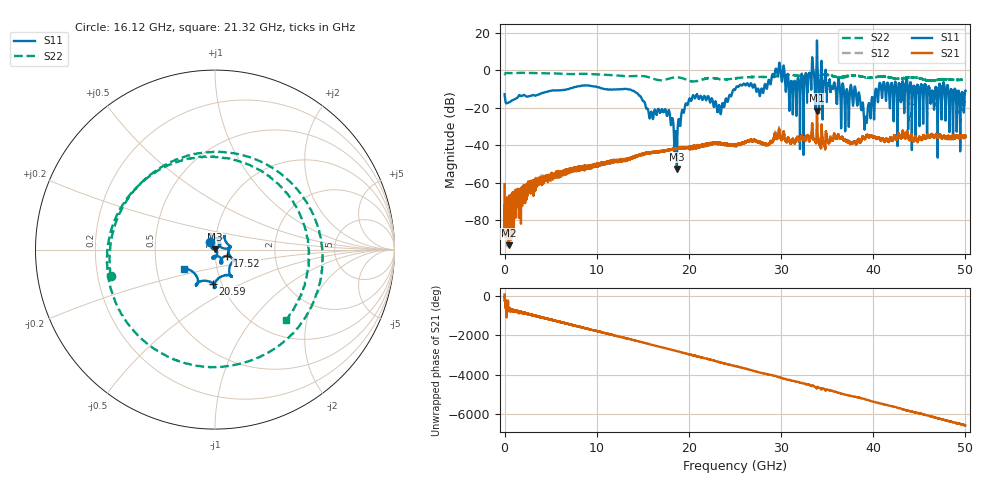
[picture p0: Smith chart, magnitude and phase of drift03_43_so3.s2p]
!Created with skrf (http://scikit-rf.org).
# Hz S RI R 50.0
!freq ReS11 ImS11 ReS21 ImS21 ReS12 ImS12 ReS22 ImS22
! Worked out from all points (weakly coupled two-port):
!   10001 points, 300 kHz to 50 GHz, reference 50 ohm
!   highest |S21| = -21.43 dB at 33.9 GHz (marker M1); lowest = -93.3 dB at 470.3 MHz (marker M2)
!   lowest |S11| = -52.7 dB at 18.7 GHz (marker M3), VSWR 1.00, Z = 50 + j0.23 ohm
!   |S11| at or under -10 dB: start of sweep to 6.949 GHz; 13.31 GHz to 25.05 GHz (11.74 GHz wide, 61.2 % of centre); 38.08 GHz to 40.26 GHz (2.189 GHz wide, 5.59 % of centre) (the widest 3 of 59)
!   |S22| runs from -5.9 to -1.3 dB; largest |S21 - S12| = 0.007
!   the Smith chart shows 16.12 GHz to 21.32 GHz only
!   S11 on the Smith chart (normalised r, x): 16.12 GHz: 0.94, +0.08; 17.52 GHz: 1.15, -0.08; 20.59 GHz: 0.91, -0.36; 21.32 GHz: 0.69, -0.16
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300000  -0.2089 -0.0974  0.000464 0.000794  0.000591 0.000581  -0.77 -0.195
4.702972e8  -0.0809 0.115  1.67e-05 1.38e-05  0.000101 0.000137  -0.4877 0.6905
2.340286e9  0.0205 -0.201  -0.000803 0.000145  -0.000511 -3.29e-05  0.0814 -0.8519
3.935276e9  -0.0199 0.2404  0.000952 0.000134  0.00101 -4.29e-05  -0.0305 0.8317
5.470267e9  0.0678 -0.2818  -0.00154 -2.86e-05  -0.00176 0.000126  0.1699 -0.8094
7.135257e9  0.00924 0.3325  0.00192 -0.000728  0.00226 -0.000637  -0.0433 0.7923
8.33525e9  0.2837 -0.2675  -0.00258 -0.000949  -0.00237 -0.00088  0.6015 -0.5352
9.575243e9  -0.3716 -0.0481  0.00136 0.00266  0.00138 0.00245  -0.786 -0.094
1.124523e10  0.3052 0.0229  -0.00225 -0.00267  -0.00217 -0.0026  0.7571 0.0202
1.61202e10  -0.0297 0.0422  0.00615 0.0019  0.00602 0.00208  -0.5812 -0.145
1.66702e10  0.054 0.0761  0.00467 -0.00476  0.0046 -0.00501  -0.3585 0.4183
1.751519e10  0.0695 -0.0352  -0.00602 -0.0039  -0.00597 -0.00418  0.4864 0.2992
1.869519e10  -0.000276 0.0023  0.00236 0.00769  0.00254 0.0079  -0.0886 -0.649
2.058518e10  -0.0101 -0.1911  -0.00782 -0.00393  -0.0075 -0.00453  0.3817 0.3344
2.132017e10  -0.1709 -0.1084  -0.0055 0.00763  -0.00547 0.00818  0.3975 -0.3905
2.500015e10  -0.2961 -0.0476  0.00771 0.00661  0.00768 0.00653  -0.1844 -0.5796
3.051012e10  0.2454 -0.1042  -0.00251 0.0126  -0.00229 0.0126  0.7418 -0.0594
3.213011e10  0.2032 0.3757  -0.000583 -0.0154  3.15e-06 -0.0154  -0.6947 0.0109
3.33351e10  0.4846 -0.9948  -0.00579 0.0239  -0.0065 0.0249  0.6128 0.366
3.38951e10  -0.9869 -6.192  0.0844 0.00795  0.0807 0.00429  0.6768 -0.325
4.167005e10  -0.2162 0.2824  -0.0122 -0.00475  -0.0118 -0.00484  -0.6551 -0.0509
5e10  -0.1424 -0.2519  0.00296 -0.0168  -0.000136 -0.0164  0.4658 -0.3156
